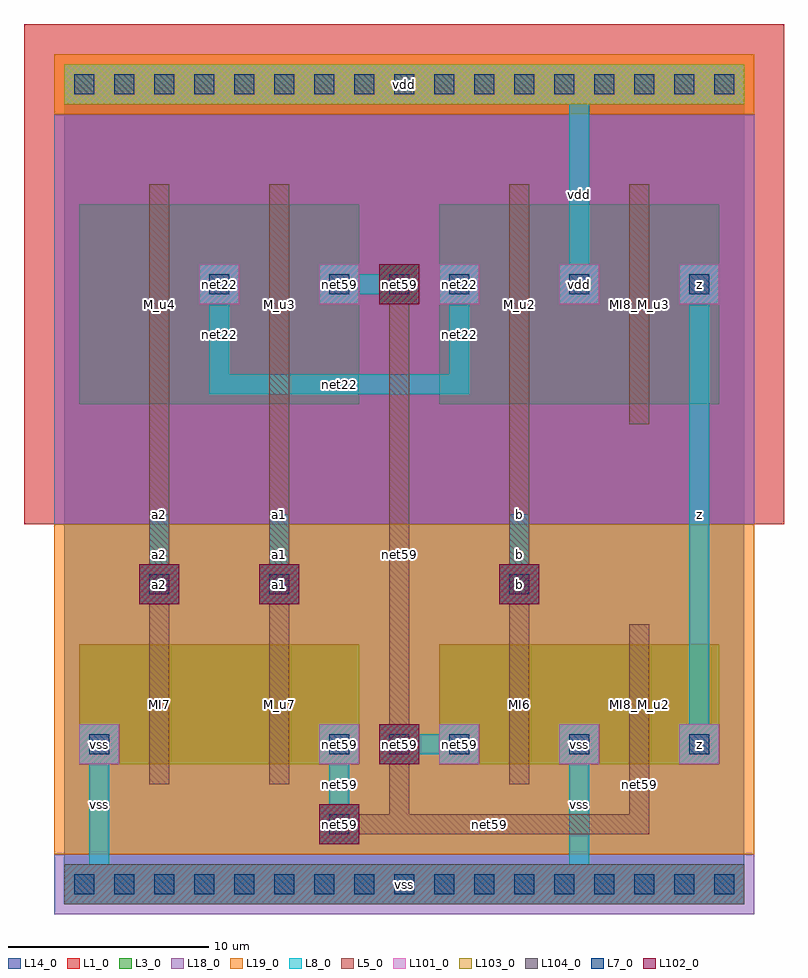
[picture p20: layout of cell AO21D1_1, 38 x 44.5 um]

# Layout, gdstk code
import gdstk
lib = gdstk.Library(unit=1e-6, precision=1e-09)
def R(c, l, rs):  # rectangles x0, y0, x1, y1
    for r in rs: c.add(gdstk.rectangle(r[:2], r[2:], *l))
def A(c, l, x, y, w, h, nx, ny, dx, dy):  # array of equal rectangles
    R(c, l, [(x+i*dx, y+j*dy, x+i*dx+w, y+j*dy+h) for i in range(nx) for j in range(ny)])
L1_0 = (1, 0)
L3_0 = (3, 0)
L5_0 = (5, 0)
L7_0 = (7, 0)
L8_0 = (8, 0)
L13_0 = (13, 0)
L14_0 = (14, 0)
L18_0 = (18, 0)
L19_0 = (19, 0)
L101_0 = (101, 0)
L102_0 = (102, 0)
L103_0 = (103, 0)
L104_0 = (104, 0)

ao21d1_1 = lib.new_cell('AO21D1_1')
R(ao21d1_1, L1_0, [(-2,18,36,43)])
A(ao21d1_1, L3_0, 12.75, 6, 2, 2, 4, 1, 6, 0)
A(ao21d1_1, L3_0, 6.75, 29, 2, 2, 5, 1, 6, 0)
R(ao21d1_1, L3_0, [(0,-1,34,1), (0,-1,34,1), (0.75,6,8.75,12), (0.75,6,2.75,8), (6.75,6,14.75,12), (18.75,6,26.75,12), (24.75,6,32.75,12), (0.75,24,8.75,34), (6.75,24,14.75,34), (18.75,24,26.75,34), (24.75,24,32.75,34), (0,39,34,41), (0,39,34,41)])
R(ao21d1_1, L5_0, [(12.75,2,14.75,4), (13.25,2.5,29.25,3.5), (16.25,2.5,17.25,30.5), (28.25,2.5,29.25,7.5), (4.25,5,5.25,13), (10.25,5,11.25,13), (22.25,5,23.25,13), (28.25,5,29.25,13), (15.75,6,17.75,8), (4.25,6.5,5.25,30.5), (10.25,6.5,11.25,30.5), (22.25,6.5,23.25,30.5), (3.75,14,5.75,16), (9.75,14,11.75,16), (21.75,14,23.75,16), (4.25,23,5.25,35), (10.25,23,11.25,35), (22.25,23,23.25,35), (28.25,23,29.25,35), (15.75,29,17.75,31)])
A(ao21d1_1, L7_0, 0.5, -0.5, 1, 1, 17, 2, 2, 40)
A(ao21d1_1, L7_0, 13.25, 6.5, 1, 1, 3, 2, 3, 23)
R(ao21d1_1, L7_0, [(13.25,2.5,14.25,3.5), (1.25,6.5,2.25,7.5), (25.25,6.5,26.25,7.5), (31.25,6.5,32.25,7.5), (4.25,14.5,5.25,15.5), (10.25,14.5,11.25,15.5), (22.25,14.5,23.25,15.5), (7.25,29.5,8.25,30.5), (25.25,29.5,26.25,30.5), (31.25,29.5,32.25,30.5)])
A(ao21d1_1, L8_0, 12.75, 6, 2, 2, 3, 2, 3, 23)
R(ao21d1_1, L8_0, [(0,-1,34,1), (1.25,0.5,2.25,7.5), (25.25,0.5,26.25,7.5), (12.75,2,14.75,4), (13.25,2.5,14.25,7.5), (0.75,6,2.75,8), (24.75,6,26.75,8), (30.75,6,32.75,8), (16.25,6.5,20.25,7.5), (31.25,6.5,32.25,30.5), (3.75,14,5.75,16), (9.75,14,11.75,16), (21.75,14,23.75,16), (4.25,14.5,5.25,18.5), (10.25,14.5,11.25,18.5), (22.25,14.5,23.25,18.5), (7.25,24.5,8.25,30.5), (7.25,24.5,20.25,25.5), (19.25,24.5,20.25,30.5), (6.75,29,8.75,31), (24.75,29,26.75,31), (30.75,29,32.75,31), (13.25,29.5,17.25,30.5), (25.25,29.5,26.25,39.5), (0,39,34,41)])
R(ao21d1_1, L14_0, [(0,0,34,40)])
R(ao21d1_1, L18_0, [(-0.5,-1.5,34.5,1.5), (-0.5,18,34.5,38.5)])
R(ao21d1_1, L19_0, [(-0.5,1.5,34.5,18), (-0.5,38.5,34.5,41.5)])
A(ao21d1_1, L101_0, 0, -1, 2, 2, 17, 2, 2, 40)
A(ao21d1_1, L101_0, 12.75, 6, 2, 2, 4, 1, 6, 0)
A(ao21d1_1, L101_0, 6.75, 29, 2, 2, 5, 1, 6, 0)
R(ao21d1_1, L101_0, [(0.75,6,2.75,8)])
R(ao21d1_1, L102_0, [(12.75,2,14.75,4), (15.75,6,17.75,8), (3.75,14,5.75,16), (9.75,14,11.75,16), (21.75,14,23.75,16), (15.75,29,17.75,31)])
R(ao21d1_1, L103_0, [(0,39,34,41)])
R(ao21d1_1, L104_0, [(0,-1,34,1)])
ao21d1_1.add(gdstk.FlexPath([(0.75,3),(32.75,3)], 0, ends="flush", simple_path=True, layer=13, datatype=0))  # L13_0
ao21d1_1.add(gdstk.FlexPath([(0.75,7),(32.75,7)], 0, ends="flush", simple_path=True, layer=13, datatype=0))  # L13_0
ao21d1_1.add(gdstk.FlexPath([(0.75,11),(32.75,11)], 0, ends="flush", simple_path=True, layer=13, datatype=0))  # L13_0
ao21d1_1.add(gdstk.FlexPath([(0.75,15),(32.75,15)], 0, ends="flush", simple_path=True, layer=13, datatype=0))  # L13_0
ao21d1_1.add(gdstk.FlexPath([(0.75,18),(32.75,18)], 0, ends="flush", simple_path=True, layer=13, datatype=0))  # L13_0
ao21d1_1.add(gdstk.FlexPath([(0.75,21),(32.75,21)], 0, ends="flush", simple_path=True, layer=13, datatype=0))  # L13_0
ao21d1_1.add(gdstk.FlexPath([(0.75,25),(32.75,25)], 0, ends="flush", simple_path=True, layer=13, datatype=0))  # L13_0
ao21d1_1.add(gdstk.FlexPath([(0.75,30),(32.75,30)], 0, ends="flush", simple_path=True, layer=13, datatype=0))  # L13_0
ao21d1_1.add(gdstk.FlexPath([(0.75,33),(32.75,33)], 0, ends="flush", simple_path=True, layer=13, datatype=0))  # L13_0
ao21d1_1.add(gdstk.FlexPath([(0.75,37),(32.75,37)], 0, ends="flush", simple_path=True, layer=13, datatype=0))  # L13_0
ao21d1_1.add(gdstk.FlexPath([(1.75,0.5),(1.75,39.5)], 0, ends="flush", simple_path=True, layer=13, datatype=0))  # L13_0
ao21d1_1.add(gdstk.FlexPath([(4.75,0.5),(4.75,39.5)], 0, ends="flush", simple_path=True, layer=13, datatype=0))  # L13_0
ao21d1_1.add(gdstk.FlexPath([(7.75,0.5),(7.75,39.5)], 0, ends="flush", simple_path=True, layer=13, datatype=0))  # L13_0
ao21d1_1.add(gdstk.FlexPath([(10.75,0.5),(10.75,39.5)], 0, ends="flush", simple_path=True, layer=13, datatype=0))  # L13_0
ao21d1_1.add(gdstk.FlexPath([(13.75,0.5),(13.75,39.5)], 0, ends="flush", simple_path=True, layer=13, datatype=0))  # L13_0
ao21d1_1.add(gdstk.FlexPath([(16.75,0.5),(16.75,39.5)], 0, ends="flush", simple_path=True, layer=13, datatype=0))  # L13_0
ao21d1_1.add(gdstk.FlexPath([(19.75,0.5),(19.75,39.5)], 0, ends="flush", simple_path=True, layer=13, datatype=0))  # L13_0
ao21d1_1.add(gdstk.FlexPath([(22.75,0.5),(22.75,39.5)], 0, ends="flush", simple_path=True, layer=13, datatype=0))  # L13_0
ao21d1_1.add(gdstk.FlexPath([(25.75,0.5),(25.75,39.5)], 0, ends="flush", simple_path=True, layer=13, datatype=0))  # L13_0
ao21d1_1.add(gdstk.FlexPath([(28.75,0.5),(28.75,39.5)], 0, ends="flush", simple_path=True, layer=13, datatype=0))  # L13_0
ao21d1_1.add(gdstk.FlexPath([(31.75,0.5),(31.75,39.5)], 0, ends="flush", simple_path=True, layer=13, datatype=0))  # L13_0
ao21d1_1.add(gdstk.Label('MI7', (4.75,9), layer=3, texttype=0))
ao21d1_1.add(gdstk.Label('M_u7', (10.75,9), layer=3, texttype=0))
ao21d1_1.add(gdstk.Label('MI6', (22.75,9), layer=3, texttype=0))
ao21d1_1.add(gdstk.Label('MI8_M_u2', (28.75,9), layer=3, texttype=0))
ao21d1_1.add(gdstk.Label('M_u3', (10.75,29), layer=3, texttype=0))
ao21d1_1.add(gdstk.Label('MI8_M_u3', (28.75,29), layer=3, texttype=0))
ao21d1_1.add(gdstk.Label('M_u4', (4.75,29), layer=3, texttype=0))
ao21d1_1.add(gdstk.Label('M_u2', (22.75,29), layer=3, texttype=0))
ao21d1_1.add(gdstk.Label('net59', (13.75,7), layer=3, texttype=0))
ao21d1_1.add(gdstk.Label('net59', (19.75,7), layer=3, texttype=0))
ao21d1_1.add(gdstk.Label('net59', (13.75,30), layer=3, texttype=0))
ao21d1_1.add(gdstk.Label('z', (31.75,7), layer=3, texttype=0))
ao21d1_1.add(gdstk.Label('z', (31.75,30), layer=3, texttype=0))
ao21d1_1.add(gdstk.Label('net22', (7.75,30), layer=3, texttype=0))
ao21d1_1.add(gdstk.Label('net22', (19.75,30), layer=3, texttype=0))
ao21d1_1.add(gdstk.Label('vss', (1.75,7), layer=3, texttype=0))
ao21d1_1.add(gdstk.Label('vss', (25.75,7), layer=3, texttype=0))
ao21d1_1.add(gdstk.Label('vdd', (25.75,30), layer=3, texttype=0))
ao21d1_1.add(gdstk.Label('a2', (4.75,18.5), layer=5, texttype=0))
ao21d1_1.add(gdstk.Label('a2', (4.75,15), layer=5, texttype=0))
ao21d1_1.add(gdstk.Label('net59', (13.75,3), layer=5, texttype=0))
ao21d1_1.add(gdstk.Label('net59', (21.25,3), layer=5, texttype=0))
ao21d1_1.add(gdstk.Label('net59', (28.75,5), layer=5, texttype=0))
ao21d1_1.add(gdstk.Label('net59', (16.75,16.5), layer=5, texttype=0))
ao21d1_1.add(gdstk.Label('net59', (16.75,30), layer=5, texttype=0))
ao21d1_1.add(gdstk.Label('net59', (16.75,7), layer=5, texttype=0))
ao21d1_1.add(gdstk.Label('a1', (10.75,18.5), layer=5, texttype=0))
ao21d1_1.add(gdstk.Label('a1', (10.75,15), layer=5, texttype=0))
ao21d1_1.add(gdstk.Label('b', (22.75,18.5), layer=5, texttype=0))
ao21d1_1.add(gdstk.Label('b', (22.75,15), layer=5, texttype=0))
ao21d1_1.add(gdstk.Label('net59', (13.75,7), layer=101, texttype=0))
ao21d1_1.add(gdstk.Label('net59', (19.75,7), layer=101, texttype=0))
ao21d1_1.add(gdstk.Label('net59', (13.75,30), layer=101, texttype=0))
ao21d1_1.add(gdstk.Label('z', (31.75,7), layer=101, texttype=0))
ao21d1_1.add(gdstk.Label('z', (31.75,30), layer=101, texttype=0))
ao21d1_1.add(gdstk.Label('net22', (7.75,30), layer=101, texttype=0))
ao21d1_1.add(gdstk.Label('net22', (19.75,30), layer=101, texttype=0))
ao21d1_1.add(gdstk.Label('vss', (1.75,7), layer=101, texttype=0))
ao21d1_1.add(gdstk.Label('vss', (25.75,7), layer=101, texttype=0))
ao21d1_1.add(gdstk.Label('vdd', (25.75,30), layer=101, texttype=0))
ao21d1_1.add(gdstk.Label('a2', (4.75,15), layer=102, texttype=0))
ao21d1_1.add(gdstk.Label('net59', (13.75,3), layer=102, texttype=0))
ao21d1_1.add(gdstk.Label('net59', (16.75,30), layer=102, texttype=0))
ao21d1_1.add(gdstk.Label('net59', (16.75,7), layer=102, texttype=0))
ao21d1_1.add(gdstk.Label('a1', (10.75,15), layer=102, texttype=0))
ao21d1_1.add(gdstk.Label('b', (22.75,15), layer=102, texttype=0))
ao21d1_1.add(gdstk.Label('a2', (4.75,15), layer=8, texttype=0))
ao21d1_1.add(gdstk.Label('a2', (4.75,16.5), layer=8, texttype=0))
ao21d1_1.add(gdstk.Label('net59', (13.75,7), layer=8, texttype=0))
ao21d1_1.add(gdstk.Label('net59', (19.75,7), layer=8, texttype=0))
ao21d1_1.add(gdstk.Label('net59', (13.75,30), layer=8, texttype=0))
ao21d1_1.add(gdstk.Label('net59', (13.75,5), layer=8, texttype=0))
ao21d1_1.add(gdstk.Label('net59', (13.75,3), layer=8, texttype=0))
ao21d1_1.add(gdstk.Label('net59', (16.75,30), layer=8, texttype=0))
ao21d1_1.add(gdstk.Label('net59', (15.25,30), layer=8, texttype=0))
ao21d1_1.add(gdstk.Label('net59', (18.25,7), layer=8, texttype=0))
ao21d1_1.add(gdstk.Label('net59', (16.75,7), layer=8, texttype=0))
ao21d1_1.add(gdstk.Label('a1', (10.75,15), layer=8, texttype=0))
ao21d1_1.add(gdstk.Label('a1', (10.75,16.5), layer=8, texttype=0))
ao21d1_1.add(gdstk.Label('b', (22.75,15), layer=8, texttype=0))
ao21d1_1.add(gdstk.Label('b', (22.75,16.5), layer=8, texttype=0))
ao21d1_1.add(gdstk.Label('z', (31.75,7), layer=8, texttype=0))
ao21d1_1.add(gdstk.Label('z', (31.75,30), layer=8, texttype=0))
ao21d1_1.add(gdstk.Label('z', (31.75,18.5), layer=8, texttype=0))
ao21d1_1.add(gdstk.Label('net22', (7.75,30), layer=8, texttype=0))
ao21d1_1.add(gdstk.Label('net22', (19.75,30), layer=8, texttype=0))
ao21d1_1.add(gdstk.Label('net22', (7.75,27.5), layer=8, texttype=0))
ao21d1_1.add(gdstk.Label('net22', (13.75,25), layer=8, texttype=0))
ao21d1_1.add(gdstk.Label('net22', (19.75,27.5), layer=8, texttype=0))
ao21d1_1.add(gdstk.Label('vss', (1.75,7), layer=8, texttype=0))
ao21d1_1.add(gdstk.Label('vss', (1.75,4), layer=8, texttype=0))
ao21d1_1.add(gdstk.Label('vss', (25.75,7), layer=8, texttype=0))
ao21d1_1.add(gdstk.Label('vss', (25.75,4), layer=8, texttype=0))
ao21d1_1.add(gdstk.Label('vdd', (25.75,30), layer=8, texttype=0))
ao21d1_1.add(gdstk.Label('vdd', (25.75,34.5), layer=8, texttype=0))
ao21d1_1.add(gdstk.Label('vss', (17,0), layer=8, texttype=0))
ao21d1_1.add(gdstk.Label('vdd', (17,40), layer=8, texttype=0))

lib.write_gds('AO21D1_1.gds')
